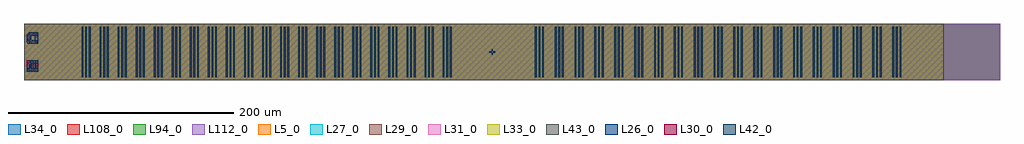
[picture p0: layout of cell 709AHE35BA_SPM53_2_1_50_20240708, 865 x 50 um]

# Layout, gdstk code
from math import pi, radians
import gdstk
lib = gdstk.Library(unit=1e-6, precision=1e-09)
def R(c, l, rs):  # rectangles x0, y0, x1, y1
    for r in rs: c.add(gdstk.rectangle(r[:2], r[2:], *l))
def A(c, l, x, y, w, h, nx, ny, dx, dy):  # array of equal rectangles
    R(c, l, [(x+i*dx, y+j*dy, x+i*dx+w, y+j*dy+h) for i in range(nx) for j in range(ny)])
def P(c, l, *ps):  # polygons
    for p in ps: c.add(gdstk.Polygon(p, *l))
L5_0 = (5, 0)
L26_0 = (26, 0)
L27_0 = (27, 0)
L29_0 = (29, 0)
L30_0 = (30, 0)
L31_0 = (31, 0)
L33_0 = (33, 0)
L34_0 = (34, 0)
L42_0 = (42, 0)
L43_0 = (43, 0)
L94_0 = (94, 0)
L108_0 = (108, 0)
L112_0 = (112, 0)

spm53_800_50_1_6_45_0_t_ = lib.new_cell('SPM53_800_50_1_6_45_0_T_26_T')
R(spm53_800_50_1_6_45_0_t_, L5_0, [(15,0,815,50)])
A(spm53_800_50_1_6_45_0_t_, L26_0, 51, 2.5, 1.6, 45, 3, 1, 3.2, 0)
A(spm53_800_50_1_6_45_0_t_, L26_0, 67, 2.5, 1.6, 45, 3, 1, 3.2, 0)
A(spm53_800_50_1_6_45_0_t_, L26_0, 83, 2.5, 1.6, 45, 3, 1, 3.2, 0)
A(spm53_800_50_1_6_45_0_t_, L26_0, 99, 2.5, 1.6, 45, 3, 1, 3.2, 0)
A(spm53_800_50_1_6_45_0_t_, L26_0, 115, 2.5, 1.6, 45, 3, 1, 3.2, 0)
A(spm53_800_50_1_6_45_0_t_, L26_0, 131, 2.5, 1.6, 45, 3, 1, 3.2, 0)
A(spm53_800_50_1_6_45_0_t_, L26_0, 147, 2.5, 1.6, 45, 3, 1, 3.2, 0)
A(spm53_800_50_1_6_45_0_t_, L26_0, 163, 2.5, 1.6, 45, 3, 1, 3.2, 0)
A(spm53_800_50_1_6_45_0_t_, L26_0, 179, 2.5, 1.6, 45, 3, 1, 3.2, 0)
A(spm53_800_50_1_6_45_0_t_, L26_0, 195, 2.5, 1.6, 45, 3, 1, 3.2, 0)
A(spm53_800_50_1_6_45_0_t_, L26_0, 211, 2.5, 1.6, 45, 3, 1, 3.2, 0)
A(spm53_800_50_1_6_45_0_t_, L26_0, 227, 2.5, 1.6, 45, 3, 1, 3.2, 0)
A(spm53_800_50_1_6_45_0_t_, L26_0, 243, 2.5, 1.6, 45, 3, 1, 3.2, 0)
A(spm53_800_50_1_6_45_0_t_, L26_0, 259, 2.5, 1.6, 45, 3, 1, 3.2, 0)
A(spm53_800_50_1_6_45_0_t_, L26_0, 275, 2.5, 1.6, 45, 3, 1, 3.2, 0)
A(spm53_800_50_1_6_45_0_t_, L26_0, 291, 2.5, 1.6, 45, 3, 1, 3.2, 0)
A(spm53_800_50_1_6_45_0_t_, L26_0, 307, 2.5, 1.6, 45, 3, 1, 3.2, 0)
A(spm53_800_50_1_6_45_0_t_, L26_0, 323, 2.5, 1.6, 45, 3, 1, 3.2, 0)
A(spm53_800_50_1_6_45_0_t_, L26_0, 339, 2.5, 1.6, 45, 3, 1, 3.2, 0)
A(spm53_800_50_1_6_45_0_t_, L26_0, 355, 2.5, 1.6, 45, 3, 1, 3.2, 0)
A(spm53_800_50_1_6_45_0_t_, L26_0, 371, 2.5, 1.6, 45, 3, 1, 3.2, 0)
A(spm53_800_50_1_6_45_0_t_, L26_0, 452.8, 2.5, 1.6, 45, 3, 1, 3.2, 0)
A(spm53_800_50_1_6_45_0_t_, L26_0, 470.4, 2.5, 1.6, 45, 3, 1, 3.2, 0)
A(spm53_800_50_1_6_45_0_t_, L26_0, 488, 2.5, 1.6, 45, 3, 1, 3.2, 0)
A(spm53_800_50_1_6_45_0_t_, L26_0, 505.6, 2.5, 1.6, 45, 3, 1, 3.2, 0)
A(spm53_800_50_1_6_45_0_t_, L26_0, 523.2, 2.5, 1.6, 45, 3, 1, 3.2, 0)
A(spm53_800_50_1_6_45_0_t_, L26_0, 540.8, 2.5, 1.6, 45, 3, 1, 3.2, 0)
A(spm53_800_50_1_6_45_0_t_, L26_0, 558.4, 2.5, 1.6, 45, 3, 1, 3.2, 0)
A(spm53_800_50_1_6_45_0_t_, L26_0, 576, 2.5, 1.6, 45, 3, 1, 3.2, 0)
A(spm53_800_50_1_6_45_0_t_, L26_0, 593.6, 2.5, 1.6, 45, 3, 1, 3.2, 0)
A(spm53_800_50_1_6_45_0_t_, L26_0, 611.2, 2.5, 1.6, 45, 3, 1, 3.2, 0)
A(spm53_800_50_1_6_45_0_t_, L26_0, 628.8, 2.5, 1.6, 45, 3, 1, 3.2, 0)
A(spm53_800_50_1_6_45_0_t_, L26_0, 646.4, 2.5, 1.6, 45, 3, 1, 3.2, 0)
A(spm53_800_50_1_6_45_0_t_, L26_0, 664, 2.5, 1.6, 45, 3, 1, 3.2, 0)
A(spm53_800_50_1_6_45_0_t_, L26_0, 681.6, 2.5, 1.6, 45, 3, 1, 3.2, 0)
A(spm53_800_50_1_6_45_0_t_, L26_0, 699.2, 2.5, 1.6, 45, 3, 1, 3.2, 0)
A(spm53_800_50_1_6_45_0_t_, L26_0, 716.8, 2.5, 1.6, 45, 3, 1, 3.2, 0)
A(spm53_800_50_1_6_45_0_t_, L26_0, 734.4, 2.5, 1.6, 45, 3, 1, 3.2, 0)
A(spm53_800_50_1_6_45_0_t_, L26_0, 752, 2.5, 1.6, 45, 3, 1, 3.2, 0)
A(spm53_800_50_1_6_45_0_t_, L26_0, 769.6, 2.5, 1.6, 45, 3, 1, 3.2, 0)
P(spm53_800_50_1_6_45_0_t_, L26_0, [(415.5,24.5),(417.5,24.5),(417.5,25.5),(415.5,25.5),(415.5,27.5),(414.5,27.5),(414.5,25.5),(412.5,25.5),(412.5,24.5),(414.5,24.5),(414.5,22.5),(415.5,22.5)])
R(spm53_800_50_1_6_45_0_t_, L27_0, [(15,0,815,50)])
R(spm53_800_50_1_6_45_0_t_, L29_0, [(15,0,815,50)])
R(spm53_800_50_1_6_45_0_t_, L31_0, [(15,0,815,50)])
R(spm53_800_50_1_6_45_0_t_, L33_0, [(15,0,815,50)])
R(spm53_800_50_1_6_45_0_t_, L34_0, [(15,0,865,50)])
R(spm53_800_50_1_6_45_0_t_, L43_0, [(15,0,815,50)])
R(spm53_800_50_1_6_45_0_t_, L94_0, [(15,0,865,50)])
R(spm53_800_50_1_6_45_0_t_, L108_0, [(15,0,865,50)])
R(spm53_800_50_1_6_45_0_t_, L112_0, [(15,0,865,50)])

c_spm53_800_50_1_6_45_0_t_ = lib.new_cell('SPM53_800_50_1_6_45_0_T_26_name')
R(c_spm53_800_50_1_6_45_0_t_, L5_0, [(0,0,50,15)])
P(c_spm53_800_50_1_6_45_0_t_, L26_0, [(17.5,3.5),(17.5,4.5),(16.5,5.5),(11.5,5.5),(10.5,6.5),(10.5,8.5),(11.5,9.5),(16.5,9.5),(17.5,10.5),(17.5,11.5),(16.5,12.5),(9.5,12.5),(7.5,10.5),(7.5,4.5),(9.5,2.5),(16.5,2.5)],
  [(42.5,2.5),(42.5,12.5),(32.5,12.5),(32.5,5.5),(35.5,5.5),(35.5,9.5),(39.5,9.5),(39.5,5.5),(35.5,5.5),(32.5,5.5),(32.5,2.5)])
R(c_spm53_800_50_1_6_45_0_t_, L27_0, [(0,0,50,15)])
R(c_spm53_800_50_1_6_45_0_t_, L29_0, [(0,0,50,15)])
R(c_spm53_800_50_1_6_45_0_t_, L31_0, [(0,0,50,15)])
R(c_spm53_800_50_1_6_45_0_t_, L33_0, [(0,0,50,15)])
R(c_spm53_800_50_1_6_45_0_t_, L34_0, [(0,0,50,15)])
R(c_spm53_800_50_1_6_45_0_t_, L43_0, [(0,0,50,15)])
R(c_spm53_800_50_1_6_45_0_t_, L94_0, [(0,0,50,15)])
R(c_spm53_800_50_1_6_45_0_t_, L108_0, [(0,0,50,15)])
R(c_spm53_800_50_1_6_45_0_t_, L112_0, [(0,0,50,15)])

c_spm53_800_50_1_6_45_0_t__ = lib.new_cell('SPM53_800_50_1_6_45_0_T_30_T')
R(c_spm53_800_50_1_6_45_0_t__, L5_0, [(15,0,815,50)])
R(c_spm53_800_50_1_6_45_0_t__, L27_0, [(15,0,815,50)])
R(c_spm53_800_50_1_6_45_0_t__, L29_0, [(15,0,815,50)])
A(c_spm53_800_50_1_6_45_0_t__, L30_0, 51, 2.5, 1.6, 45, 3, 1, 3.2, 0)
A(c_spm53_800_50_1_6_45_0_t__, L30_0, 67, 2.5, 1.6, 45, 3, 1, 3.2, 0)
A(c_spm53_800_50_1_6_45_0_t__, L30_0, 83, 2.5, 1.6, 45, 3, 1, 3.2, 0)
A(c_spm53_800_50_1_6_45_0_t__, L30_0, 99, 2.5, 1.6, 45, 3, 1, 3.2, 0)
A(c_spm53_800_50_1_6_45_0_t__, L30_0, 115, 2.5, 1.6, 45, 3, 1, 3.2, 0)
A(c_spm53_800_50_1_6_45_0_t__, L30_0, 131, 2.5, 1.6, 45, 3, 1, 3.2, 0)
A(c_spm53_800_50_1_6_45_0_t__, L30_0, 147, 2.5, 1.6, 45, 3, 1, 3.2, 0)
A(c_spm53_800_50_1_6_45_0_t__, L30_0, 163, 2.5, 1.6, 45, 3, 1, 3.2, 0)
A(c_spm53_800_50_1_6_45_0_t__, L30_0, 179, 2.5, 1.6, 45, 3, 1, 3.2, 0)
A(c_spm53_800_50_1_6_45_0_t__, L30_0, 195, 2.5, 1.6, 45, 3, 1, 3.2, 0)
A(c_spm53_800_50_1_6_45_0_t__, L30_0, 211, 2.5, 1.6, 45, 3, 1, 3.2, 0)
A(c_spm53_800_50_1_6_45_0_t__, L30_0, 227, 2.5, 1.6, 45, 3, 1, 3.2, 0)
A(c_spm53_800_50_1_6_45_0_t__, L30_0, 243, 2.5, 1.6, 45, 3, 1, 3.2, 0)
A(c_spm53_800_50_1_6_45_0_t__, L30_0, 259, 2.5, 1.6, 45, 3, 1, 3.2, 0)
A(c_spm53_800_50_1_6_45_0_t__, L30_0, 275, 2.5, 1.6, 45, 3, 1, 3.2, 0)
A(c_spm53_800_50_1_6_45_0_t__, L30_0, 291, 2.5, 1.6, 45, 3, 1, 3.2, 0)
A(c_spm53_800_50_1_6_45_0_t__, L30_0, 307, 2.5, 1.6, 45, 3, 1, 3.2, 0)
A(c_spm53_800_50_1_6_45_0_t__, L30_0, 323, 2.5, 1.6, 45, 3, 1, 3.2, 0)
A(c_spm53_800_50_1_6_45_0_t__, L30_0, 339, 2.5, 1.6, 45, 3, 1, 3.2, 0)
A(c_spm53_800_50_1_6_45_0_t__, L30_0, 355, 2.5, 1.6, 45, 3, 1, 3.2, 0)
A(c_spm53_800_50_1_6_45_0_t__, L30_0, 371, 2.5, 1.6, 45, 3, 1, 3.2, 0)
A(c_spm53_800_50_1_6_45_0_t__, L30_0, 452.8, 2.5, 1.6, 45, 3, 1, 3.2, 0)
A(c_spm53_800_50_1_6_45_0_t__, L30_0, 470.4, 2.5, 1.6, 45, 3, 1, 3.2, 0)
A(c_spm53_800_50_1_6_45_0_t__, L30_0, 488, 2.5, 1.6, 45, 3, 1, 3.2, 0)
A(c_spm53_800_50_1_6_45_0_t__, L30_0, 505.6, 2.5, 1.6, 45, 3, 1, 3.2, 0)
A(c_spm53_800_50_1_6_45_0_t__, L30_0, 523.2, 2.5, 1.6, 45, 3, 1, 3.2, 0)
A(c_spm53_800_50_1_6_45_0_t__, L30_0, 540.8, 2.5, 1.6, 45, 3, 1, 3.2, 0)
A(c_spm53_800_50_1_6_45_0_t__, L30_0, 558.4, 2.5, 1.6, 45, 3, 1, 3.2, 0)
A(c_spm53_800_50_1_6_45_0_t__, L30_0, 576, 2.5, 1.6, 45, 3, 1, 3.2, 0)
A(c_spm53_800_50_1_6_45_0_t__, L30_0, 593.6, 2.5, 1.6, 45, 3, 1, 3.2, 0)
A(c_spm53_800_50_1_6_45_0_t__, L30_0, 611.2, 2.5, 1.6, 45, 3, 1, 3.2, 0)
A(c_spm53_800_50_1_6_45_0_t__, L30_0, 628.8, 2.5, 1.6, 45, 3, 1, 3.2, 0)
A(c_spm53_800_50_1_6_45_0_t__, L30_0, 646.4, 2.5, 1.6, 45, 3, 1, 3.2, 0)
A(c_spm53_800_50_1_6_45_0_t__, L30_0, 664, 2.5, 1.6, 45, 3, 1, 3.2, 0)
A(c_spm53_800_50_1_6_45_0_t__, L30_0, 681.6, 2.5, 1.6, 45, 3, 1, 3.2, 0)
A(c_spm53_800_50_1_6_45_0_t__, L30_0, 699.2, 2.5, 1.6, 45, 3, 1, 3.2, 0)
A(c_spm53_800_50_1_6_45_0_t__, L30_0, 716.8, 2.5, 1.6, 45, 3, 1, 3.2, 0)
A(c_spm53_800_50_1_6_45_0_t__, L30_0, 734.4, 2.5, 1.6, 45, 3, 1, 3.2, 0)
A(c_spm53_800_50_1_6_45_0_t__, L30_0, 752, 2.5, 1.6, 45, 3, 1, 3.2, 0)
A(c_spm53_800_50_1_6_45_0_t__, L30_0, 769.6, 2.5, 1.6, 45, 3, 1, 3.2, 0)
P(c_spm53_800_50_1_6_45_0_t__, L30_0, [(415.5,24.5),(417.5,24.5),(417.5,25.5),(415.5,25.5),(415.5,27.5),(414.5,27.5),(414.5,25.5),(412.5,25.5),(412.5,24.5),(414.5,24.5),(414.5,22.5),(415.5,22.5)])
R(c_spm53_800_50_1_6_45_0_t__, L31_0, [(15,0,815,50)])
R(c_spm53_800_50_1_6_45_0_t__, L33_0, [(15,0,815,50)])
R(c_spm53_800_50_1_6_45_0_t__, L34_0, [(15,0,865,50)])
R(c_spm53_800_50_1_6_45_0_t__, L43_0, [(15,0,815,50)])
R(c_spm53_800_50_1_6_45_0_t__, L94_0, [(15,0,865,50)])
R(c_spm53_800_50_1_6_45_0_t__, L108_0, [(15,0,865,50)])
R(c_spm53_800_50_1_6_45_0_t__, L112_0, [(15,0,865,50)])

c_spm53_800_50_1_6_45_0_t___ = lib.new_cell('SPM53_800_50_1_6_45_0_T_30_name')
R(c_spm53_800_50_1_6_45_0_t___, L5_0, [(0,0,50,15)])
R(c_spm53_800_50_1_6_45_0_t___, L27_0, [(0,0,50,15)])
R(c_spm53_800_50_1_6_45_0_t___, L29_0, [(0,0,50,15)])
P(c_spm53_800_50_1_6_45_0_t___, L30_0, [(17.5,5.5),(17.5,12.5),(14.5,12.5),(14.5,6.5),(10.5,6.5),(10.5,12.5),(7.5,12.5),(7.5,5.5),(11.5,2.5),(13.5,2.5)],
  [(42.5,5),(35.5,5),(35.5,6.3),(42.5,6.3),(42.5,12.5),(32.5,12.5),(32.5,10),(39.5,10),(39.5,8.8),(32.5,8.8),(32.5,2.5),(42.5,2.5)])
R(c_spm53_800_50_1_6_45_0_t___, L31_0, [(0,0,50,15)])
R(c_spm53_800_50_1_6_45_0_t___, L33_0, [(0,0,50,15)])
R(c_spm53_800_50_1_6_45_0_t___, L34_0, [(0,0,50,15)])
R(c_spm53_800_50_1_6_45_0_t___, L43_0, [(0,0,50,15)])
R(c_spm53_800_50_1_6_45_0_t___, L94_0, [(0,0,50,15)])
R(c_spm53_800_50_1_6_45_0_t___, L108_0, [(0,0,50,15)])
R(c_spm53_800_50_1_6_45_0_t___, L112_0, [(0,0,50,15)])

c_spm53_800_50_1_6_45_0_t____ = lib.new_cell('SPM53_800_50_1_6_45_0_T_42_T')
R(c_spm53_800_50_1_6_45_0_t____, L5_0, [(15,0,815,50)])
R(c_spm53_800_50_1_6_45_0_t____, L27_0, [(15,0,815,50)])
R(c_spm53_800_50_1_6_45_0_t____, L29_0, [(15,0,815,50)])
R(c_spm53_800_50_1_6_45_0_t____, L31_0, [(15,0,815,50)])
R(c_spm53_800_50_1_6_45_0_t____, L33_0, [(15,0,815,50)])
R(c_spm53_800_50_1_6_45_0_t____, L34_0, [(15,0,865,50)])
A(c_spm53_800_50_1_6_45_0_t____, L42_0, 51, 2.5, 1.6, 45, 3, 1, 3.2, 0)
A(c_spm53_800_50_1_6_45_0_t____, L42_0, 67, 2.5, 1.6, 45, 3, 1, 3.2, 0)
A(c_spm53_800_50_1_6_45_0_t____, L42_0, 83, 2.5, 1.6, 45, 3, 1, 3.2, 0)
A(c_spm53_800_50_1_6_45_0_t____, L42_0, 99, 2.5, 1.6, 45, 3, 1, 3.2, 0)
A(c_spm53_800_50_1_6_45_0_t____, L42_0, 115, 2.5, 1.6, 45, 3, 1, 3.2, 0)
A(c_spm53_800_50_1_6_45_0_t____, L42_0, 131, 2.5, 1.6, 45, 3, 1, 3.2, 0)
A(c_spm53_800_50_1_6_45_0_t____, L42_0, 147, 2.5, 1.6, 45, 3, 1, 3.2, 0)
A(c_spm53_800_50_1_6_45_0_t____, L42_0, 163, 2.5, 1.6, 45, 3, 1, 3.2, 0)
A(c_spm53_800_50_1_6_45_0_t____, L42_0, 179, 2.5, 1.6, 45, 3, 1, 3.2, 0)
A(c_spm53_800_50_1_6_45_0_t____, L42_0, 195, 2.5, 1.6, 45, 3, 1, 3.2, 0)
A(c_spm53_800_50_1_6_45_0_t____, L42_0, 211, 2.5, 1.6, 45, 3, 1, 3.2, 0)
A(c_spm53_800_50_1_6_45_0_t____, L42_0, 227, 2.5, 1.6, 45, 3, 1, 3.2, 0)
A(c_spm53_800_50_1_6_45_0_t____, L42_0, 243, 2.5, 1.6, 45, 3, 1, 3.2, 0)
A(c_spm53_800_50_1_6_45_0_t____, L42_0, 259, 2.5, 1.6, 45, 3, 1, 3.2, 0)
A(c_spm53_800_50_1_6_45_0_t____, L42_0, 275, 2.5, 1.6, 45, 3, 1, 3.2, 0)
A(c_spm53_800_50_1_6_45_0_t____, L42_0, 291, 2.5, 1.6, 45, 3, 1, 3.2, 0)
A(c_spm53_800_50_1_6_45_0_t____, L42_0, 307, 2.5, 1.6, 45, 3, 1, 3.2, 0)
A(c_spm53_800_50_1_6_45_0_t____, L42_0, 323, 2.5, 1.6, 45, 3, 1, 3.2, 0)
A(c_spm53_800_50_1_6_45_0_t____, L42_0, 339, 2.5, 1.6, 45, 3, 1, 3.2, 0)
A(c_spm53_800_50_1_6_45_0_t____, L42_0, 355, 2.5, 1.6, 45, 3, 1, 3.2, 0)
A(c_spm53_800_50_1_6_45_0_t____, L42_0, 371, 2.5, 1.6, 45, 3, 1, 3.2, 0)
A(c_spm53_800_50_1_6_45_0_t____, L42_0, 452.8, 2.5, 1.6, 45, 3, 1, 3.2, 0)
A(c_spm53_800_50_1_6_45_0_t____, L42_0, 470.4, 2.5, 1.6, 45, 3, 1, 3.2, 0)
A(c_spm53_800_50_1_6_45_0_t____, L42_0, 488, 2.5, 1.6, 45, 3, 1, 3.2, 0)
A(c_spm53_800_50_1_6_45_0_t____, L42_0, 505.6, 2.5, 1.6, 45, 3, 1, 3.2, 0)
A(c_spm53_800_50_1_6_45_0_t____, L42_0, 523.2, 2.5, 1.6, 45, 3, 1, 3.2, 0)
A(c_spm53_800_50_1_6_45_0_t____, L42_0, 540.8, 2.5, 1.6, 45, 3, 1, 3.2, 0)
A(c_spm53_800_50_1_6_45_0_t____, L42_0, 558.4, 2.5, 1.6, 45, 3, 1, 3.2, 0)
A(c_spm53_800_50_1_6_45_0_t____, L42_0, 576, 2.5, 1.6, 45, 3, 1, 3.2, 0)
A(c_spm53_800_50_1_6_45_0_t____, L42_0, 593.6, 2.5, 1.6, 45, 3, 1, 3.2, 0)
A(c_spm53_800_50_1_6_45_0_t____, L42_0, 611.2, 2.5, 1.6, 45, 3, 1, 3.2, 0)
A(c_spm53_800_50_1_6_45_0_t____, L42_0, 628.8, 2.5, 1.6, 45, 3, 1, 3.2, 0)
A(c_spm53_800_50_1_6_45_0_t____, L42_0, 646.4, 2.5, 1.6, 45, 3, 1, 3.2, 0)
A(c_spm53_800_50_1_6_45_0_t____, L42_0, 664, 2.5, 1.6, 45, 3, 1, 3.2, 0)
A(c_spm53_800_50_1_6_45_0_t____, L42_0, 681.6, 2.5, 1.6, 45, 3, 1, 3.2, 0)
A(c_spm53_800_50_1_6_45_0_t____, L42_0, 699.2, 2.5, 1.6, 45, 3, 1, 3.2, 0)
A(c_spm53_800_50_1_6_45_0_t____, L42_0, 716.8, 2.5, 1.6, 45, 3, 1, 3.2, 0)
A(c_spm53_800_50_1_6_45_0_t____, L42_0, 734.4, 2.5, 1.6, 45, 3, 1, 3.2, 0)
A(c_spm53_800_50_1_6_45_0_t____, L42_0, 752, 2.5, 1.6, 45, 3, 1, 3.2, 0)
A(c_spm53_800_50_1_6_45_0_t____, L42_0, 769.6, 2.5, 1.6, 45, 3, 1, 3.2, 0)
P(c_spm53_800_50_1_6_45_0_t____, L42_0, [(415.5,24.5),(417.5,24.5),(417.5,25.5),(415.5,25.5),(415.5,27.5),(414.5,27.5),(414.5,25.5),(412.5,25.5),(412.5,24.5),(414.5,24.5),(414.5,22.5),(415.5,22.5)])
R(c_spm53_800_50_1_6_45_0_t____, L43_0, [(15,0,815,50)])
R(c_spm53_800_50_1_6_45_0_t____, L94_0, [(15,0,865,50)])
R(c_spm53_800_50_1_6_45_0_t____, L108_0, [(15,0,865,50)])
R(c_spm53_800_50_1_6_45_0_t____, L112_0, [(15,0,865,50)])

c_spm53_800_50_1_6_45_0_t_____ = lib.new_cell('SPM53_800_50_1_6_45_0_T_42_name')
R(c_spm53_800_50_1_6_45_0_t_____, L5_0, [(0,0,50,15)])
R(c_spm53_800_50_1_6_45_0_t_____, L27_0, [(0,0,50,15)])
R(c_spm53_800_50_1_6_45_0_t_____, L29_0, [(0,0,50,15)])
R(c_spm53_800_50_1_6_45_0_t_____, L31_0, [(0,0,50,15)])
R(c_spm53_800_50_1_6_45_0_t_____, L33_0, [(0,0,50,15)])
R(c_spm53_800_50_1_6_45_0_t_____, L34_0, [(0,0,50,15)])
P(c_spm53_800_50_1_6_45_0_t_____, L42_0, [(17.5,5.5),(17.5,12.5),(14.5,12.5),(14.5,6.5),(10.5,6.5),(10.5,12.5),(7.5,12.5),(7.5,5.5),(11.5,2.5),(13.5,2.5)],
  [(42.5,12.5),(39.5,12.5),(39.5,8.5),(35.5,8.5),(35.5,12.5),(32.5,12.5),(32.5,5.5),(39.5,5.5),(39.5,2.5),(42.5,2.5)])
R(c_spm53_800_50_1_6_45_0_t_____, L43_0, [(0,0,50,15)])
R(c_spm53_800_50_1_6_45_0_t_____, L94_0, [(0,0,50,15)])
R(c_spm53_800_50_1_6_45_0_t_____, L108_0, [(0,0,50,15)])
R(c_spm53_800_50_1_6_45_0_t_____, L112_0, [(0,0,50,15)])

c_709ahe35ba_spm53_2_1_50_ = lib.new_cell('709AHE35BA_SPM53_2_1_50_20240708')
c_709ahe35ba_spm53_2_1_50_.add(gdstk.Reference(spm53_800_50_1_6_45_0_t_, (0,0)))
c_709ahe35ba_spm53_2_1_50_.add(gdstk.Reference(c_spm53_800_50_1_6_45_0_t_, (0,50), rotation=3*pi/2))
c_709ahe35ba_spm53_2_1_50_.add(gdstk.Reference(c_spm53_800_50_1_6_45_0_t__, (0,0)))
c_709ahe35ba_spm53_2_1_50_.add(gdstk.Reference(c_spm53_800_50_1_6_45_0_t___, (0,50), rotation=3*pi/2))
c_709ahe35ba_spm53_2_1_50_.add(gdstk.Reference(c_spm53_800_50_1_6_45_0_t____, (0,0)))
c_709ahe35ba_spm53_2_1_50_.add(gdstk.Reference(c_spm53_800_50_1_6_45_0_t_____, (0,50), rotation=3*pi/2))

lib.write_gds('709AHE35BA_SPM53_2_1_50_20240708.gds')
